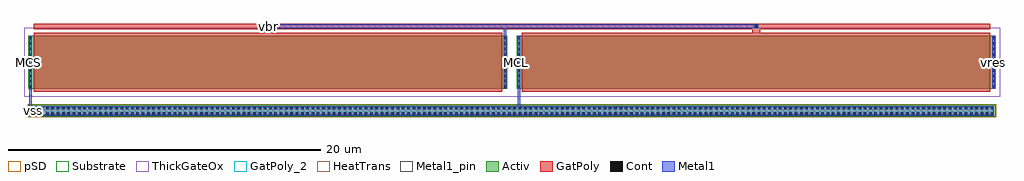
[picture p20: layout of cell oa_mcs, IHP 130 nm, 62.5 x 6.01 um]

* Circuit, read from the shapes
.subckt oa_mcs vbr vres vss
XM1 vbr vbr vss vss sg13_hv_nmos w=3.4u l=30u
XM2 vres vbr vss vss sg13_hv_nmos w=3.4u l=30u
.ends

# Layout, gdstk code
import gdstk
lib = gdstk.Library(unit=1e-6, precision=1e-09)
def R(c, l, rs):  # rectangles x0, y0, x1, y1
    for r in rs: c.add(gdstk.rectangle(r[:2], r[2:], *l))
def A(c, l, x, y, w, h, nx, ny, dx, dy):  # array of equal rectangles
    R(c, l, [(x+i*dx, y+j*dy, x+i*dx+w, y+j*dy+h) for i in range(nx) for j in range(ny)])
Activ = (1, 0)
GatPoly = (5, 0)
GatPoly_2 = (5, 2)
Cont = (6, 0)
Metal1 = (8, 0)
Metal1_pin = (8, 2)
pSD = (14, 0)
Substrate = (40, 0)
ThickGateOx = (44, 0)
HeatTrans = (51, 0)

nmoshv_8 = lib.new_cell('nmosHV$8')
R(nmoshv_8, Activ, [(0,0,0.3,0.3), (0,0,30.68,3.4), (30.38,0,30.68,0.3)])
R(nmoshv_8, GatPoly, [(0.34,-0.18,30.34,3.58)])
R(nmoshv_8, GatPoly_2, [(0.34,-0.18,30.34,3.58)])
A(nmoshv_8, Cont, 0.07, 0.41, 0.16, 0.16, 1, 9, 0, 0.345)
A(nmoshv_8, Cont, 30.45, 0.41, 0.16, 0.16, 1, 9, 0, 0.345)
R(nmoshv_8, Cont, [(0.07,0.07,0.23,0.23), (30.45,0.07,30.61,0.23)])
R(nmoshv_8, Metal1, [(0.07,0,0.23,3.4), (30.45,0,30.61,3.4)])
R(nmoshv_8, Metal1_pin, [(0.07,0,0.23,3.4), (30.45,0,30.61,3.4)])
R(nmoshv_8, ThickGateOx, [(-0.27,-0.52,30.95,3.92)])
R(nmoshv_8, HeatTrans, [(0.34,-0.18,30.34,3.58)])
nmoshv_8.add(gdstk.Label('nmosHV', (15.34,1.7), layer=63, texttype=0))
nmoshv_8.add(gdstk.Label('nmosHV', (15.34,1.7), layer=51, texttype=0))

ptap1_10 = lib.new_cell('ptap1$10')
R(ptap1_10, Activ, [(0,0,61.96,0.78)])
A(ptap1_10, Cont, 0.13, 0.14, 0.16, 0.16, 182, 2, 0.34, 0.34)
R(ptap1_10, Metal1, [(0.13,0.09,61.83,0.69), (0.13,0.14,61.83,0.64)])
R(ptap1_10, Metal1_pin, [(0.13,0.14,61.83,0.64)])
R(ptap1_10, pSD, [(-0.03,-0.03,61.99,0.81)])
R(ptap1_10, Substrate, [(0,0,61.96,0.78)])
ptap1_10.add(gdstk.Label('sub!', (30.98,0.01), layer=63, texttype=0))
ptap1_10.add(gdstk.Label('sub!', (30.98,0.01), layer=40, texttype=0))

oa_mcs = lib.new_cell('oa_mcs')
R(oa_mcs, GatPoly, [(15.09,3.4,15.59,3.83), (46.37,3.4,46.87,3.83), (0.34,3.82,61.62,4.18)])
R(oa_mcs, Cont, [(15.26,3.92,15.42,4.08), (46.54,3.92,46.7,4.08)])
R(oa_mcs, Metal1, [(0.07,-1.71,31.51,-1.11), (0.07,-1.21,0.23,0.05), (31.35,-1.21,31.51,0.05), (30.45,3.35,30.61,4), (15.21,3.87,46.75,4.13)])
R(oa_mcs, Metal1_pin, [(0.13,-1.71,0.53,-1.11), (61.73,1.45,61.89,1.95), (15.21,3.87,15.51,4.13)])
R(oa_mcs, ThickGateOx, [(-0.27,-0.52,62.23,3.92)])
oa_mcs.add(gdstk.Reference(nmoshv_8, (0,0)))
oa_mcs.add(gdstk.Reference(nmoshv_8, (31.28,0)))
oa_mcs.add(gdstk.Reference(ptap1_10, (0,-1.8)))
oa_mcs.add(gdstk.Label('MCS', (0,1.7), layer=63, texttype=0))
oa_mcs.add(gdstk.Label('MCL', (31.28,1.7), layer=63, texttype=0))
oa_mcs.add(gdstk.Label('vbr', (15.36,4), layer=8, texttype=25))
oa_mcs.add(gdstk.Label('vss', (0.33,-1.41), layer=8, texttype=25))
oa_mcs.add(gdstk.Label('vres', (61.81,1.7), layer=8, texttype=25))

lib.write_gds('oa_mcs.gds')
